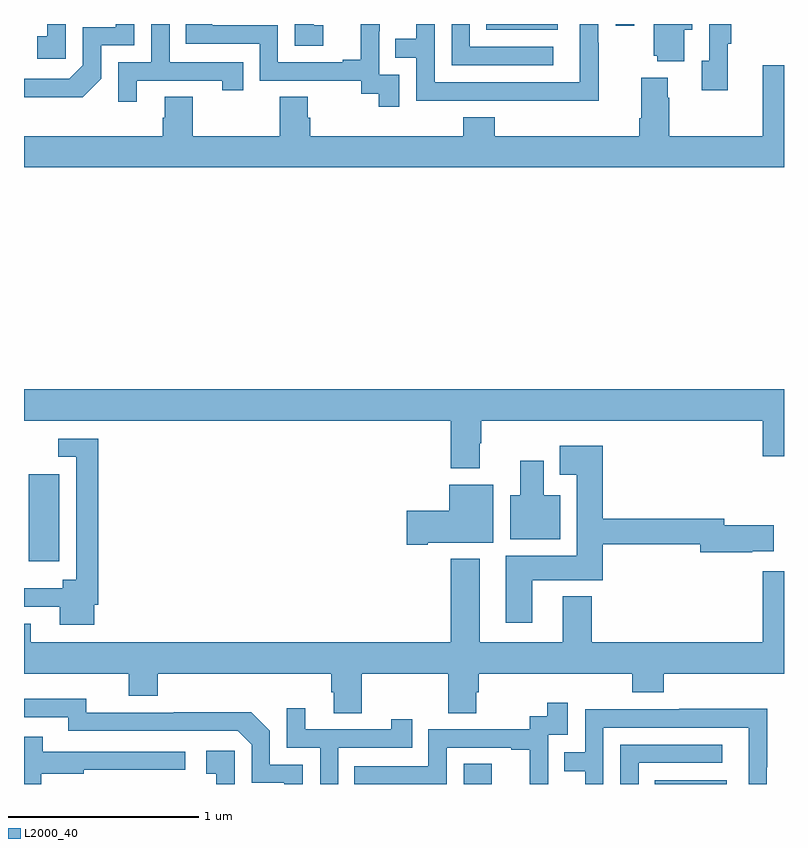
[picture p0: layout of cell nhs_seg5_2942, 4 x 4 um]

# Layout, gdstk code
import gdstk
lib = gdstk.Library(unit=1e-6, precision=1e-09)
def R(c, l, rs):  # rectangles x0, y0, x1, y1
    for r in rs: c.add(gdstk.rectangle(r[:2], r[2:], *l))
def P(c, l, *ps):  # polygons
    for p in ps: c.add(gdstk.Polygon(p, *l))
L2000_40 = (2000, 40)

nhs_seg5_2942 = lib.new_cell('nhs_seg5_2942')
R(nhs_seg5_2942, L2000_40, [(283.314,902.799,283.462,902.905), (284.32,902.799,284.698,902.818), (281.024,903.972,281.185,904.429), (283.432,906.77,283.81,906.799), (284.115,906.789,284.211,906.799)])
P(nhs_seg5_2942, L2000_40, [(282.975,906.531),(282.87,906.531),(282.87,906.761),(282.872,906.761),(282.872,906.799),(282.773,906.799),(282.773,906.61),(282.677,906.61),(282.677,906.597),(282.336,906.597),(282.336,906.792),(281.991,906.792),(281.991,906.799),(281.851,906.799),(281.851,906.696),(282.24,906.696),(282.24,906.501),(282.774,906.501),(282.774,906.433),(282.867,906.433),(282.867,906.363),(282.975,906.363)],
  [(284.025,906.701),(284.022,906.701),(284.022,906.799),(283.926,906.799),(283.926,906.492),(283.161,906.492),(283.161,906.799),(283.065,906.799),(283.065,906.722),(282.955,906.722),(282.955,906.621),(283.065,906.621),(283.065,906.396),(283.561,906.396),(283.561,906.395),(284.025,906.395)],
  [(281.22,906.799),(281.123,906.799),(281.123,906.735),(281.07,906.735),(281.07,906.615),(281.22,906.615)],
  [(282.574,906.793),(282.525,906.793),(282.525,906.799),(282.426,906.799),(282.426,906.684),(282.574,906.684)],
  [(281.593,906.501),(282.044,906.501),(282.044,906.45),(282.155,906.45),(282.155,906.597),(281.766,906.597),(281.766,906.799),(281.67,906.799),(281.67,906.597),(281.496,906.597),(281.496,906.39),(281.593,906.39)],
  [(283.786,906.678),(283.347,906.678),(283.347,906.799),(283.251,906.799),(283.251,906.582),(283.786,906.582)],
  [(281.406,906.51),(281.406,906.687),(281.58,906.687),(281.58,906.799),(281.483,906.799),(281.483,906.783),(281.31,906.783),(281.31,906.582),(281.238,906.51),(281,906.51),(281,906.413),(281.308,906.413)],
  [(284.705,906.694),(284.723,906.694),(284.723,906.799),(284.607,906.799),(284.607,906.606),(284.567,906.606),(284.567,906.45),(284.705,906.45)],
  [(284.476,906.77),(284.518,906.77),(284.518,906.799),(284.315,906.799),(284.315,906.633),(284.333,906.633),(284.333,906.602),(284.476,906.602)],
  [(285,906.583),(284.888,906.583),(284.888,906.208),(284.397,906.208),(284.397,906.41),(284.389,906.41),(284.389,906.517),(284.249,906.517),(284.249,906.304),(284.237,906.304),(284.237,906.208),(283.478,906.208),(283.478,906.307),(283.313,906.307),(283.313,906.208),(282.506,906.208),(282.506,906.306),(282.493,906.306),(282.493,906.416),(282.346,906.416),(282.346,906.208),(281.889,906.208),(281.889,906.416),(281.741,906.416),(281.741,906.306),(281.729,906.306),(281.729,906.208),(281,906.208),(281,906.044),(285,906.044)],
  [(283.399,904.592),(283.407,904.592),(283.407,904.712),(284.888,904.712),(284.888,904.524),(285,904.524),(285,904.876),(281,904.876),(281,904.712),(283.247,904.712),(283.247,904.46),(283.399,904.46)],
  [(281.371,903.742),(281.39,903.742),(281.39,904.617),(281.181,904.617),(281.181,904.521),(281.274,904.521),(281.274,903.874),(281.204,903.874),(281.204,903.828),(281,903.828),(281,903.732),(281.189,903.732),(281.189,903.638),(281.371,903.638)],
  [(283.675,903.872),(284.045,903.872),(284.045,904.06),(284.558,904.06),(284.558,904.018),(284.834,904.018),(284.834,904.025),(284.947,904.025),(284.947,904.16),(284.686,904.16),(284.686,904.196),(284.045,904.196),(284.045,904.579),(283.82,904.579),(283.82,904.427),(283.91,904.427),(283.91,904),(283.535,904),(283.535,903.648),(283.675,903.648)],
  [(283.822,904.318),(283.735,904.318),(283.735,904.501),(283.613,904.501),(283.613,904.318),(283.559,904.318),(283.559,904.088),(283.822,904.088)],
  [(283.126,904.07),(283.471,904.07),(283.471,904.375),(283.238,904.375),(283.238,904.236),(283.014,904.236),(283.014,904.058),(283.126,904.058)],
  [(281.035,903.643),(281,903.643),(281,903.38),(281.552,903.38),(281.552,903.263),(281.705,903.263),(281.705,903.38),(282.617,903.38),(282.617,903.282),(282.629,903.282),(282.629,903.172),(282.777,903.172),(282.777,903.38),(283.234,903.38),(283.234,903.172),(283.381,903.172),(283.381,903.282),(283.394,903.282),(283.394,903.38),(284.201,903.38),(284.201,903.281),(284.366,903.281),(284.366,903.38),(285,903.38),(285,903.919),(284.888,903.919),(284.888,903.544),(283.988,903.544),(283.988,903.787),(283.835,903.787),(283.835,903.544),(283.399,903.544),(283.399,903.985),(283.247,903.985),(283.247,903.544),(281.035,903.544)],
  [(282.468,902.901),(282.294,902.901),(282.294,903.078),(282.196,903.176),(281.788,903.176),(281.788,903.174),(281.328,903.174),(281.328,903.247),(281,903.247),(281,903.15),(281.232,903.15),(281.232,903.078),(282.126,903.078),(282.198,903.006),(282.198,902.805),(282.371,902.805),(282.371,902.799),(282.468,902.799)],
  [(283.224,902.991),(283.565,902.991),(283.565,902.979),(283.661,902.979),(283.661,902.799),(283.76,902.799),(283.76,902.828),(283.758,902.828),(283.758,903.057),(283.863,903.057),(283.863,903.226),(283.755,903.226),(283.755,903.156),(283.662,903.156),(283.662,903.087),(283.128,903.087),(283.128,902.892),(282.739,902.892),(282.739,902.799),(283.224,902.799)],
  [(282.654,902.991),(283.043,902.991),(283.043,903.139),(282.932,903.139),(282.932,903.087),(282.481,903.087),(282.481,903.199),(282.384,903.199),(282.384,902.991),(282.558,902.991),(282.558,902.799),(282.654,902.799)],
  [(284.049,903.096),(284.814,903.096),(284.814,902.799),(284.91,902.799),(284.91,902.887),(284.913,902.887),(284.913,903.194),(284.449,903.194),(284.449,903.192),(283.953,903.192),(283.953,902.967),(283.843,902.967),(283.843,902.866),(283.953,902.866),(283.953,902.799),(284.049,902.799)],
  [(281.092,902.854),(281.315,902.854),(281.315,902.874),(281.848,902.874),(281.848,902.97),(281.099,902.97),(281.099,903.049),(281,903.049),(281,902.799),(281.092,902.799)],
  [(284.235,902.91),(284.674,902.91),(284.674,903.006),(284.139,903.006),(284.139,902.799),(284.235,902.799)],
  [(282.108,902.974),(281.958,902.974),(281.958,902.853),(282.011,902.853),(282.011,902.799),(282.108,902.799)])

lib.write_gds('nhs_seg5_2942.gds')
